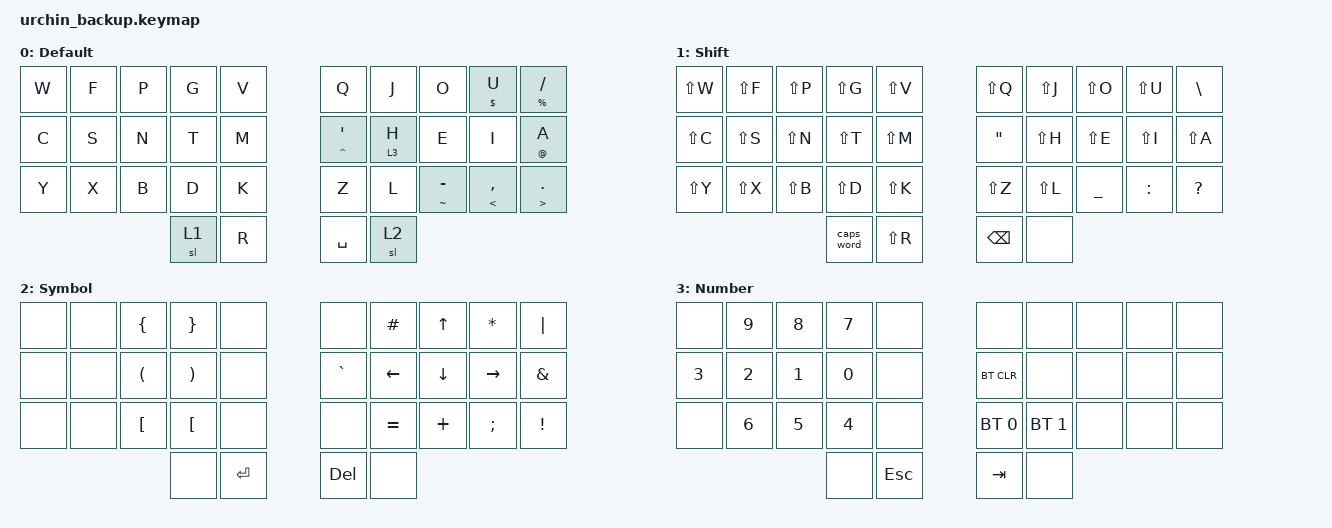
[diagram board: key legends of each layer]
#include <behaviors.dtsi>
#include <dt-bindings/zmk/keys.h>
#include <dt-bindings/zmk/bt.h>

/ {
	keymap {
		compatible = "zmk,keymap";

		default_layer {
			label = "Default";
			bindings = <
				&kp W &kp F &kp P &kp G &kp V &kp Q &kp J &kp O &mt DOLLAR U &mt PERCENT FSLH
				&kp C &kp S &kp N &kp T &kp M &mt CARET SQT &lt 3 H &kp E &kp I &mt AT A
				&kp Y &kp X &kp B &kp D &kp K &kp Z &kp L &mt TILDE MINUS &mt LT COMMA &mt GT DOT
								  &sl 1 &kp R &kp SPACE &sl 2
			>;
		};

		shift {
			label = "Shift";
			bindings = <
				&kp LS(W) &kp LS(F) &kp LS(P) &kp LS(G) &kp LS(V) &kp LS(Q) &kp LS(J) &kp LS(O) &kp LS(U) &kp BSLH
				&kp LS(C) &kp LS(S) &kp LS(N) &kp LS(T) &kp LS(M) &kp DQT &kp LS(H) &kp LS(E) &kp LS(I) &kp LS(A)
				&kp LS(Y) &kp LS(X) &kp LS(B) &kp LS(D) &kp LS(K) &kp LS(Z) &kp LS(L) &kp UNDER &kp COLON &kp QMARK
								            &caps_word &kp LS(R) &kp BSPC &none
			>;
		};

		symbol {
			label = "Symbol";
			bindings = <
				&none &none &kp LBRC &kp RBRC &none &none &kp HASH &kp UP &kp STAR &kp PIPE
				&none &none &kp LPAR &kp RPAR &none &kp GRAVE &kp LEFT &kp DOWN &kp RIGHT &kp AMPS
				&none &none &kp LBKT &kp LBKT &none &none &kp EQUAL &kp PLUS &kp SEMI &kp EXCL
									  &none &kp RET &kp DEL &none
			>;
		};			

		number {
			label = "Number";
			bindings = <
				&none &kp N9 &kp N8 &kp N7 &none  &none &none &none &none &none
				&kp N3 &kp N2 &kp N1 &kp N0 &none &bt BT_CLR &none &none &none &none
				&none &kp N6 &kp N5 &kp N4 &none  &bt BT_SEL 0 &bt BT_SEL 1 &none &none &none
									&none &kp ESC &kp TAB &none
			>;
		};		

	};
};
